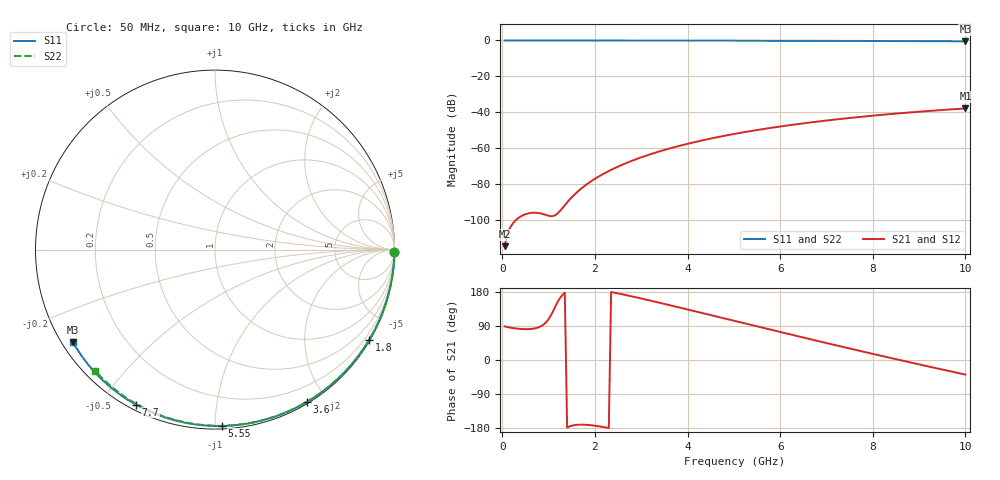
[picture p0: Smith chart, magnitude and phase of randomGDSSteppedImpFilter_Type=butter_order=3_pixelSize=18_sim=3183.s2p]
! freq	dB(S11)	phase(S11)	dB(S12)	phase(S12)
!  dB(S21)	phase(S21)	dB(S22)	phase(S22)
!S-par simulation data
#  GHz  S  DB  R 50
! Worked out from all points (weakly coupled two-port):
!   200 points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, 50 MHz to 10 GHz, reference 50 ohm
!   highest |S21| = -37.91 dB at 10 GHz (marker M1); lowest = -114.7 dB at 50 MHz (marker M2)
!   lowest |S11| = -0.5 dB at 10 GHz (marker M3), VSWR 35.29, Z = 1.54 - j14.8 ohm
!   |S11| at or under -10 dB: nowhere
!   |S22| runs from -0.5 to 0.0 dB; largest |S21 - S12| = 0
!   S11 on the Smith chart (normalised r, x): 50 MHz: open; 1.8 GHz: 0.03, -3.70; 3.6 GHz: 0.02, -1.77; 5.55 GHz: 0.02, -1.04; 7.7 GHz: 0.02, -0.61; 10 GHz: 0.03, -0.30
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0.05  -0.00 -0.9  -114.71 88.6  -114.71 88.6  -0.00 -0.8
0.45  -0.01 -7.7  -97.43 81.5  -97.43 81.5  -0.01 -7.0
0.9  -0.02 -15.3  -96.94 94.3  -96.94 94.3  -0.02 -13.8
1.75  -0.04 -29.4  -81.64 -170.7  -81.64 -170.7  -0.03 -26.7
1.8  -0.04 -30.2  -80.65 -171.0  -80.65 -171.0  -0.03 -27.4
1.85  -0.04 -31.1  -79.72 -171.4  -79.72 -171.4  -0.04 -28.2
2  -0.04 -33.5  -77.14 -173.4  -77.14 -173.4  -0.04 -30.4
2.15  -0.05 -36.0  -74.85 -176.2  -74.85 -176.2  -0.04 -32.6
2.35  -0.05 -39.2  -72.14 179.4  -72.14 179.4  -0.05 -35.6
2.55  -0.05 -42.4  -69.75 174.5  -69.75 174.5  -0.05 -38.5
2.95  -0.06 -48.8  -65.64 163.7  -65.64 163.7  -0.06 -44.3
3.4  -0.07 -55.9  -61.81 150.9  -61.81 150.9  -0.07 -50.8
3.6  -0.08 -59.0  -60.32 145.1  -60.32 145.1  -0.07 -53.6
4.3  -0.10 -69.6  -55.82 124.4  -55.82 124.4  -0.09 -63.4
5.05  -0.12 -80.6  -51.93 102.0  -51.93 102.0  -0.11 -73.5
5.55  -0.14 -87.8  -49.74 87.2  -49.74 87.2  -0.13 -80.1
6.1  -0.17 -95.5  -47.61 70.9  -47.61 70.9  -0.15 -87.2
6.7  -0.20 -103.7  -45.57 53.4  -45.57 53.4  -0.18 -94.8
7.7  -0.27 -117.0  -42.69 24.7  -42.69 24.7  -0.24 -107.2
8.35  -0.32 -125.5  -41.11 6.4  -41.11 6.4  -0.29 -115.0
9.2  -0.40 -136.6  -39.33 -17.0  -39.33 -17.0  -0.37 -125.2
10  -0.49 -147.0  -37.91 -38.5  -37.91 -38.5  -0.45 -134.8
